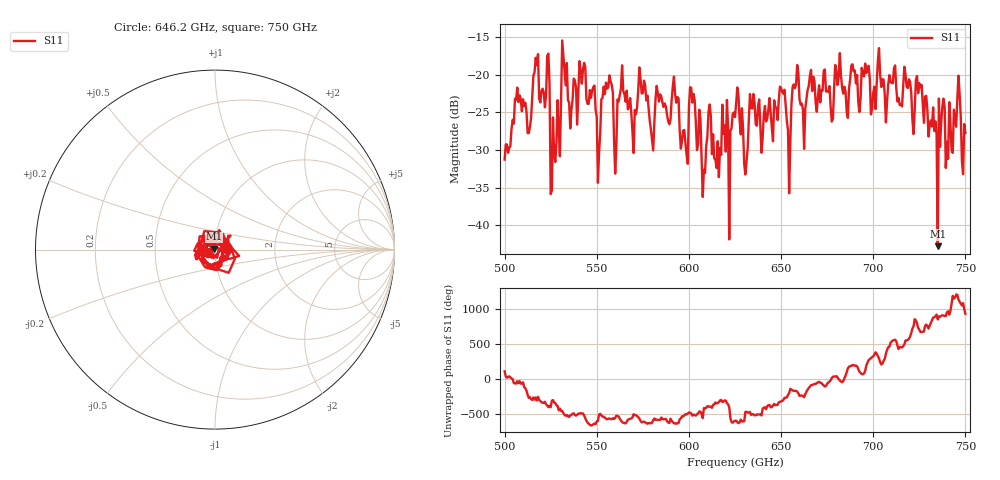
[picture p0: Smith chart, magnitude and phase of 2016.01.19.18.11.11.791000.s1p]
!Created with skrf (http://scikit-rf.org).
# GHz S RI R 50.0
!freq ReS11 ImS11
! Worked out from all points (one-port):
!   401 points, 500 GHz to 750 GHz, reference 50 ohm
!   lowest |S11| = -42.8 dB at 735 GHz (marker M1), VSWR 1.01, Z = 49.5 + j0.489 ohm
!   |S11| at or under -10 dB: start of sweep to end of sweep
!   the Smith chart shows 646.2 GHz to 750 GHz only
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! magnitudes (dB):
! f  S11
! 500 GHz  -31.3
! 506.9 GHz  -21.7
! 513.8 GHz  -26.9
! 516.9 GHz  -17.8
! 523.1 GHz  -17.5
! 526.2 GHz  -25.7
! 531.2 GHz  -15.5
! 542.5 GHz  -19.4
! 550.6 GHz  -34.3
! 560.6 GHz  -29.5
! 562.5 GHz  -22.7
! 593.8 GHz  -23.0
! 598.1 GHz  -29.2
! 601.9 GHz  -23.7
! 608.1 GHz  -32.6
! 610.6 GHz  -24.9
! 615 GHz  -32.4
! 625 GHz  -25.6
! 630.6 GHz  -33.2
! 634.4 GHz  -24.5
! 650.6 GHz  -22.3
! 653.8 GHz  -27.4
! 656.2 GHz  -21.6
! 687.5 GHz  -20.5
! 718.8 GHz  -21.8
! 735 GHz  -42.8
! 745.6 GHz  -23.2
! 750 GHz  -27.7
